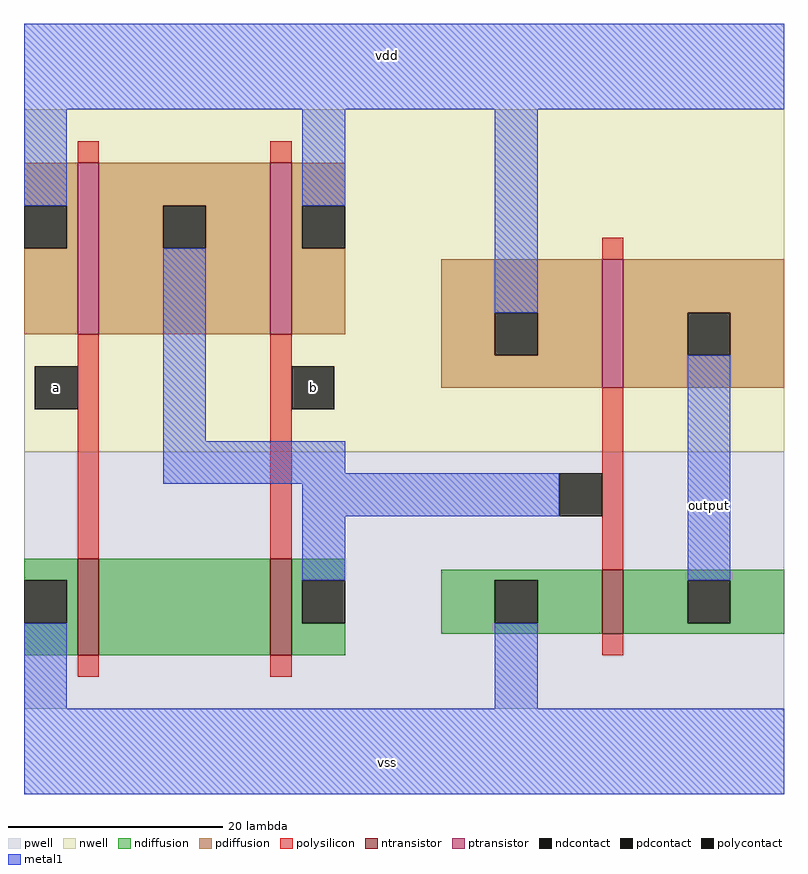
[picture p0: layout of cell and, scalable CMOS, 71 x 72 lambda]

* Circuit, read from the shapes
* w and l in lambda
.subckt and a b output vdd vss
M1 n1 a vss VSUBS nfet w=9 l=2
M2 n2 b n1 VSUBS nfet w=9 l=2
M3 output n2 vss VSUBS nfet w=6 l=2
M4 n2 a vdd n3 pfet w=16 l=2
M5 vdd b n2 n3 pfet w=16 l=2
M6 output n2 vdd n3 pfet w=12 l=2
.ends

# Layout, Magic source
magic
tech scmos
<< pwell >>
rect -39 8 32 32
<< nwell >>
rect -39 32 32 64
<< polysilicon >>
rect -34 59 -32 61
rect -16 59 -14 61
rect 15 50 17 52
rect -34 22 -32 43
rect -16 22 -14 43
rect 15 21 17 38
rect 15 13 17 15
rect -34 11 -32 13
rect -16 11 -14 13
<< ndiffusion >>
rect -39 20 -34 22
rect -35 16 -34 20
rect -39 13 -34 16
rect -32 13 -16 22
rect -14 20 -9 22
rect -14 16 -13 20
rect -14 13 -9 16
rect 0 20 15 21
rect 0 16 5 20
rect 9 16 15 20
rect 0 15 15 16
rect 17 20 32 21
rect 17 16 23 20
rect 27 16 32 20
rect 17 15 32 16
<< pdiffusion >>
rect -39 55 -34 59
rect -35 51 -34 55
rect -39 43 -34 51
rect -32 55 -16 59
rect -32 51 -26 55
rect -22 51 -16 55
rect -32 43 -16 51
rect -14 55 -9 59
rect -14 51 -13 55
rect -14 43 -9 51
rect 0 45 15 50
rect 0 41 5 45
rect 9 41 15 45
rect 0 38 15 41
rect 17 45 32 50
rect 17 41 23 45
rect 27 41 32 45
rect 17 38 32 41
<< metal1 >>
rect -39 64 32 72
rect -39 55 -35 64
rect -13 55 -9 64
rect -26 33 -22 51
rect 5 45 9 64
rect -26 30 -9 33
rect -26 29 11 30
rect -13 26 11 29
rect -13 20 -9 26
rect 23 20 27 41
rect -39 8 -35 16
rect 5 8 9 16
rect -39 0 32 8
<< ntransistor >>
rect -34 13 -32 22
rect -16 13 -14 22
rect 15 15 17 21
<< ptransistor >>
rect -34 43 -32 59
rect -16 43 -14 59
rect 15 38 17 50
<< polycontact >>
rect -38 36 -34 40
rect -14 36 -10 40
rect 11 26 15 30
<< ndcontact >>
rect -39 16 -35 20
rect -13 16 -9 20
rect 5 16 9 20
rect 23 16 27 20
<< pdcontact >>
rect -39 51 -35 55
rect -26 51 -22 55
rect -13 51 -9 55
rect 5 41 9 45
rect 23 41 27 45
<< labels >>
rlabel metal1 25 27 25 27 1 output
rlabel polycontact -36 38 -36 38 1 a
rlabel polycontact -12 38 -12 38 1 b
rlabel metal1 -5 3 -5 3 1 vss
rlabel metal1 -5 69 -5 69 5 vdd
<< end >>
